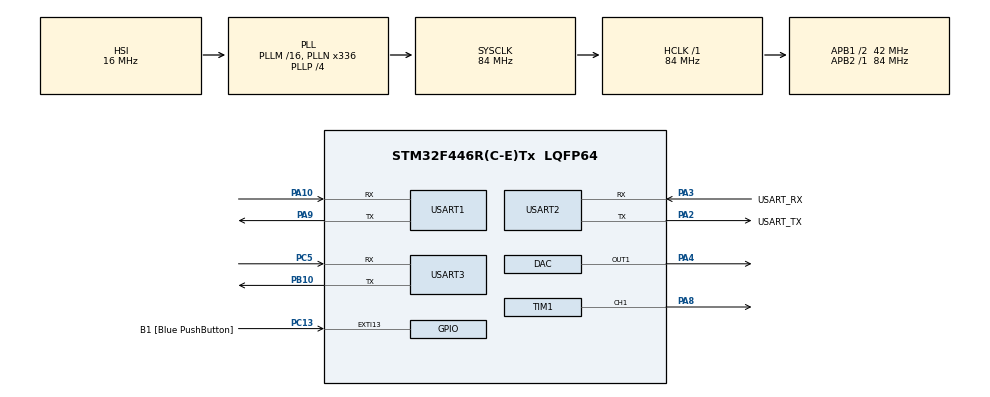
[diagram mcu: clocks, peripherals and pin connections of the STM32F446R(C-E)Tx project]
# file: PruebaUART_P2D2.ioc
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DAC.DAC_Trigger=DAC_TRIGGER_T6_TRGO
Dma.DAC1.0.Direction=DMA_MEMORY_TO_PERIPH
Dma.DAC1.0.FIFOMode=DMA_FIFOMODE_DISABLE
Dma.DAC1.0.Instance=DMA1_Stream5
Dma.DAC1.0.MemDataAlignment=DMA_MDATAALIGN_WORD
Dma.DAC1.0.MemInc=DMA_MINC_ENABLE
Dma.DAC1.0.Mode=DMA_CIRCULAR
Dma.DAC1.0.PeriphDataAlignment=DMA_PDATAALIGN_WORD
Dma.DAC1.0.PeriphInc=DMA_PINC_DISABLE
Dma.DAC1.0.Priority=DMA_PRIORITY_HIGH
Dma.Request0=DAC1
Dma.Request1=TIM1_CH1
Dma.TIM1_CH1.1.Direction=DMA_MEMORY_TO_PERIPH
Dma.TIM1_CH1.1.FIFOMode=DMA_FIFOMODE_DISABLE
Dma.TIM1_CH1.1.Instance=DMA2_Stream1
Dma.TIM1_CH1.1.MemDataAlignment=DMA_MDATAALIGN_HALFWORD
Dma.TIM1_CH1.1.MemInc=DMA_MINC_ENABLE
Dma.TIM1_CH1.1.Mode=DMA_NORMAL
Dma.TIM1_CH1.1.PeriphDataAlignment=DMA_PDATAALIGN_HALFWORD
Dma.TIM1_CH1.1.PeriphInc=DMA_PINC_DISABLE
Dma.TIM1_CH1.1.Priority=DMA_PRIORITY_HIGH
Mcu.Family=STM32F4
Mcu.Name=STM32F446R(C-E)Tx
Mcu.Package=LQFP64
NVIC.DMA1_Stream5_IRQn=true\:0\:0\:false\:false\:true\:false\:true\:true
NVIC.DMA2_Stream1_IRQn=true\:0\:0\:false\:false\:true\:false\:true\:true
NVIC.PriorityGroup=NVIC_PRIORITYGROUP_0
NVIC.USART1_IRQn=true\:0\:0\:false\:false\:true\:true\:true\:true
NVIC.USART3_IRQn=true\:0\:0\:false\:false\:true\:true\:true\:true
PA10.Mode=Asynchronous
PA10.Signal=USART1_RX
PA13.GPIO_Label=TMS
PA13.Signal=SYS_JTMS-SWDIO
PA14.GPIO_Label=TCK
PA14.Signal=SYS_JTCK-SWCLK
PA2.GPIO_Label=USART_TX
PA2.Mode=Asynchronous
PA2.Signal=USART2_TX
PA3.GPIO_Label=USART_RX
PA3.Mode=Asynchronous
PA3.Signal=USART2_RX
PA4.Signal=COMP_DAC1_group
PA8.Signal=S_TIM1_CH1
PA9.Mode=Asynchronous
PA9.Signal=USART1_TX
PB10.Mode=Asynchronous
PB10.Signal=USART3_TX
PB3.GPIO_Label=SWO
PB3.Signal=SYS_JTDO-SWO
PC13.GPIO_Label=B1 [Blue PushButton]
PC13.GPIO_ModeDefaultEXTI=GPIO_MODE_IT_FALLING
PC13.Signal=GPXTI13
PC14-OSC32_IN.Signal=RCC_OSC32_IN
PC15-OSC32_OUT.Signal=RCC_OSC32_OUT
PC5.Mode=Asynchronous
PC5.Signal=USART3_RX
PH0-OSC_IN.Signal=RCC_OSC_IN
PH1-OSC_OUT.Signal=RCC_OSC_OUT
ProjectManager.HeapSize=0x200
ProjectManager.StackSize=0x400
ProjectManager.TargetToolchain=STM32CubeIDE
RCC.AHBFreq_Value=84000000
RCC.APB1CLKDivider=RCC_HCLK_DIV2
RCC.APB1Freq_Value=42000000
RCC.APB1TimFreq_Value=84000000
RCC.APB2Freq_Value=84000000
RCC.APB2TimFreq_Value=84000000
RCC.CortexFreq_Value=84000000
RCC.FLatency-AdvancedSettings=FLASH_LATENCY_2
RCC.HCLKFreq_Value=84000000
RCC.HSE_VALUE=8000000
RCC.HSI_VALUE=16000000
RCC.LSE_VALUE=32768
RCC.PLLN=336
RCC.PLLP=RCC_PLLP_DIV4
RCC.SYSCLKFreq_VALUE=84000000
RCC.SYSCLKSource=RCC_SYSCLKSOURCE_PLLCLK
RCC.USBFreq_Value=168000000
RCC.VCOOutputFreq_Value=336000000
SH.COMP_DAC1_group.0=DAC_OUT1,DAC_OUT1
SH.S_TIM1_CH1.0=TIM1_CH1,PWM Generation1 CH1
TIM1.Channel-PWM\ Generation1\ CH1=TIM_CHANNEL_1
TIM1.Period=105-1
TIM6.Period=2624
TIM6.TIM_MasterOutputTrigger=TIM_TRGO_UPDATE
USART1.VirtualMode=VM_ASYNC
USART2.VirtualMode=VM_ASYNC
USART3.VirtualMode=VM_ASYNC
VP_TIM1_VS_ClockSourceINT.Mode=Internal
VP_TIM6_VS_ClockSourceINT.Mode=Enable_Timer
board=NUCLEO-F446RE

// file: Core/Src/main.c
/* USER CODE BEGIN Header */
// Proyecto 3 Electronica Digital 2
// Parte 7: indicador sonoro con DAC
// Parte 6: indicador visual con Neopixel
// Parte 2: comunicación UART (esp32, nucleo 2 y computadora)
/**
  ******************************************************************************
  * @file           : main.c
  * @brief          : Main program body
  ******************************************************************************
  * @attention
  *
  * Copyright (c) 2026 STMicroelectronics.
  * All rights reserved.
  *
  * This software is licensed under terms that can be found in the LICENSE file
  * in the root directory of this software component.
  * If no LICENSE file comes with this software, it is provided AS-IS.
  *
  ******************************************************************************
  */
/* USER CODE END Header */
#include "main.h"

/* USER CODE BEGIN Includes */
#include <string.h>
#include <stdio.h>
#include <math.h>
#include "Neopixel.h"
/* USER CODE END Includes */

/* USER CODE BEGIN PTD */
typedef enum {encendido, recibiendo, enviando, guardando} EstadoSistema;
typedef enum{OPERACION_NINGUNA, OPERACION_LEER, OPERACION_GUARDAR} OperacionN2;

/* USER CODE END PTD */

/* USER CODE BEGIN PD */
#define AUDIO1             32U
#define TIM6_CLK_HZ        84000000UL
#define TIM6_PSC           0U

// efectos de sonido
#define SONIDO_StartMedicion    0U
#define SONIDO_SaveMedicion     1U
#define SONIDO_AlertaLimite 	2U

#define ESP_BUFFER_SIZE 64U
#define N2_BUFFER_SIZE       256U
#define N2_LINEA_SIZE        96U

#define N2_TIMEOUT_MS        15000U
#define INDICACION_TX_MS     300U

// 3000 centesimas de grado = 30 grados
#define LIMITE_ANGULO_CDEG   3000

/* USER CODE END PD */

DAC_HandleTypeDef hdac;
DMA_HandleTypeDef hdma_dac1;

TIM_HandleTypeDef htim1;
TIM_HandleTypeDef htim6;
DMA_HandleTypeDef hdma_tim1_ch1;

UART_HandleTypeDef huart1;
UART_HandleTypeDef huart2;
UART_HandleTypeDef huart3;

/* USER CODE BEGIN PV */

static uint32_t ondaDAC[AUDIO1];
EstadoSistema estado = encendido;

// frecuencias y duraciones de efectos de sonido
static const uint16_t StartMedicion[] = {
		  262, 0,
		  294, 0,
		  262, 0,
	      311, 0,
	      392, 0,
	      466, 0,
	      440
};
static const uint16_t StartMedicionDuraciones[] = {
		    360, 40,
		    200, 50,
		    360, 40,
		    180, 30,
		    170, 20,
		    170, 30,
		    560
};
static const uint16_t SaveMedicion[] = {
		  659, 0,
		  554, 0,
		  554, 0,
		  494, 0,
		  554, 0,
		  659
};
static const uint16_t SaveMedicionDuraciones[] = {
		  100, 20,
		   90, 40,
		  380, 10,
	       90, 10,
	      120, 10,
	      180
};
static const uint16_t AlertaLimite[] = {1200, 0, 1200, 0, 1200};
static const uint16_t AlertaLimiteDuraciones[] = {100, 100, 100, 100, 250};

//variables de estado del indicador sonoro
static const uint16_t *melodiaActual = 0;
static const uint16_t *duracionesActuales = 0;
static uint16_t cantidadNotas = 0;
static uint16_t notaActual = 0;
static uint8_t dacActivo = 0;
static uint32_t inicioNota = 0;

float brilloled;

//esp32
static uint8_t datoESP;

static volatile uint8_t bufferESP[ESP_BUFFER_SIZE];
static volatile uint8_t entradaESP = 0;
static volatile uint8_t salidaESP = 0;

static uint8_t datoN2;
static volatile uint8_t bufferN2[N2_BUFFER_SIZE];
static volatile uint16_t entradaN2 = 0;
static volatile uint16_t salidaN2 = 0;
static volatile uint8_t desbordeN2 = 0;
static OperacionN2 operacionN2 = OPERACION_NINGUNA;
static unsigned int solicitudN2 = 0;
static uint32_t inicioOperacionN2 = 0;
static uint32_t inicioIndicacionTX = 0;
static uint8_t inicioMedicionConfirmado = 0;

static uint8_t alertaPendiente = 0;

/* USER CODE END PV */

void SystemClock_Config(void);
static void MX_GPIO_Init(void);
static void MX_DMA_Init(void);
static void MX_USART1_UART_Init(void);
static void MX_USART2_UART_Init(void);
static void MX_DAC_Init(void);
static void MX_TIM6_Init(void);
static void MX_TIM1_Init(void);
static void MX_USART3_UART_Init(void);
/* USER CODE BEGIN PFP */

static void generarOnda(void);
static uint32_t calcularARR(uint16_t frecuencia);
static void Audio_Tono(uint16_t frecuencia);
static void playTone(const uint16_t *notas, const uint16_t *duraciones, uint16_t cantidad);
void Audio_Reproducir(uint8_t efecto);
void Audio_Actualizar(void);
void Neopixel_Actualizar(void);

static void ESP_Responder(const char *mensaje);
static void ESP_EjecutarComando(const char *comando);
static void ESP_Procesar(void);

static void Sistema_Finalizar(const char *mensaje);
static void N2_Interpretar(const char *linea);
static void N2_Procesar(void);
static void Sistema_Actualizar(void);

/* USER CODE END PFP */

/* USER CODE BEGIN 0 */

// Funciones de comunicación NUCLEO 1 con ESP32 ////////////////////////////////////////////
static void ESP_Responder(const char *mensaje)
{
    uint16_t longitud = (uint16_t)strlen(mensaje);
    HAL_UART_Transmit(&huart3, (uint8_t *)mensaje, longitud, 100);
    HAL_UART_Transmit(&huart2, (uint8_t *)mensaje, longitud, 100);
}

static void ESP_EjecutarComando(const char *comando)
{
    OperacionN2 nuevaOperacion;

    if (strcmp(comando, "leer") == 0){
        nuevaOperacion = OPERACION_LEER;
    }
    else if (strcmp(comando, "guardar") == 0){
        nuevaOperacion = OPERACION_GUARDAR;
    }
    else{
        ESP_Responder("ERROR: use leer o guardar\r\n");
        return;
    }

    if (operacionN2 != OPERACION_NINGUNA)
    {
        ESP_Responder("OCUPADO: espere la respuesta\r\n");
        return;
    }

    // Identificador entre 1 y 65535
    solicitudN2 = (solicitudN2 % 65535U) + 1U;

    operacionN2 = nuevaOperacion;
    inicioMedicionConfirmado = 0;

    estado = (nuevaOperacion == OPERACION_LEER)
           ? recibiendo
           : guardando;

    char mensaje[32];

    snprintf(mensaje, sizeof(mensaje), "%s;%u\n", comando, solicitudN2);

    inicioOperacionN2 = HAL_GetTick();

    if (HAL_UART_Transmit(&huart1, (uint8_t *)mensaje, (uint16_t)strlen(mensaje), 100) != HAL_OK)
    {
        Sistema_Finalizar("ERROR: no se pudo enviar a Nucleo 2\r\n");
    }
}

// Formar comandos con los caracteres recibidos por UART
static void ESP_Procesar(void)
{
    static char comando[32];
    static uint8_t posicion = 0;
    static uint8_t descartar = 0;

    while (salidaESP != entradaESP)
    {
        char caracter = (char)bufferESP[salidaESP];

        salidaESP = (uint8_t)((salidaESP + 1U) % ESP_BUFFER_SIZE);

        //aceptar finales de linea \n o \r\n
        if (caracter == '\r'){
            continue;
        }

        if (caracter == '\n'){
            if (descartar){
                ESP_Responder("ERROR: comando demasiado largo\r\n");
            }
            else if (posicion > 0U){
                comando[posicion] = '\0';
                ESP_EjecutarComando(comando);
            }

            posicion = 0;
            descartar = 0;
        }
        else if (!descartar){
            if (posicion < sizeof(comando) - 1U){
                comando[posicion++] = caracter;
            }
            else{
                //ignorar el resto de esta linea
                descartar = 1;
            }
        }
    }
}

/* USER CODE END 0 */

int main(void)
{

  /* MCU Configuration--------------------------------------------------------*/

  /* Reset of all peripherals, Initializes the Flash interface and the Systick. */
  HAL_Init();

  /* Configure the system clock */
  SystemClock_Config();

  /* Initialize all configured peripherals */
  MX_GPIO_Init();
  MX_DMA_Init();
  MX_USART1_UART_Init();
  MX_USART2_UART_Init();
  MX_DAC_Init();
  MX_TIM6_Init();
  MX_TIM1_Init();
  MX_USART3_UART_Init();
  /* USER CODE BEGIN 2 */

  generarOnda();
  setBrightness(70);
  estado = encendido;

  // Activar una sola vez la recepcion desde ESP32
  if (HAL_UART_Receive_IT(&huart3, &datoESP, 1) != HAL_OK)
  {
      Error_Handler();
  }

  // Habilitar interrupcion del enlace con Nucleo 2
  HAL_NVIC_SetPriority(USART1_IRQn, 0, 0);
  HAL_NVIC_EnableIRQ(USART1_IRQn);

  // Activar una sola vez la recepcion desde Nucleo 2
  if (HAL_UART_Receive_IT(&huart1, &datoN2, 1) != HAL_OK)
  {
      Error_Handler();
  }

  // Avisar al telefono y a la computadora
  ESP_Responder("NUCLEO1 LISTA\r\n");
  Audio_Reproducir(SONIDO_StartMedicion);

  /* USER CODE END 2 */

  /* Infinite loop */
  /* USER CODE BEGIN WHILE */

 while (1)
 {

	 Audio_Actualizar();

     if (alertaPendiente && melodiaActual == 0)
     {
         alertaPendiente = 0;
         Audio_Reproducir(SONIDO_AlertaLimite);
     }

     N2_Procesar();
     Sistema_Actualizar();
     ESP_Procesar();
     Neopixel_Actualizar();

     }

    /* USER CODE END WHILE */

 }

void SystemClock_Config(void)
{
  RCC_OscInitTypeDef RCC_OscInitStruct = {0};
  RCC_ClkInitTypeDef RCC_ClkInitStruct = {0};

  /** Configure the main internal regulator output voltage
  */
  __HAL_RCC_PWR_CLK_ENABLE();
  __HAL_PWR_VOLTAGESCALING_CONFIG(PWR_REGULATOR_VOLTAGE_SCALE3);

  /** Initializes the RCC Oscillators according to the specified parameters
  * in the RCC_OscInitTypeDef structure.
  */
  RCC_OscInitStruct.OscillatorType = RCC_OSCILLATORTYPE_HSI;
  RCC_OscInitStruct.HSIState = RCC_HSI_ON;
  RCC_OscInitStruct.HSICalibrationValue = RCC_HSICALIBRATION_DEFAULT;
  RCC_OscInitStruct.PLL.PLLState = RCC_PLL_ON;
  RCC_OscInitStruct.PLL.PLLSource = RCC_PLLSOURCE_HSI;
  RCC_OscInitStruct.PLL.PLLM = 16;
  RCC_OscInitStruct.PLL.PLLN = 336;
  RCC_OscInitStruct.PLL.PLLP = RCC_PLLP_DIV4;
  RCC_OscInitStruct.PLL.PLLQ = 2;
  RCC_OscInitStruct.PLL.PLLR = 2;
  if (HAL_RCC_OscConfig(&RCC_OscInitStruct) != HAL_OK)
  {
    Error_Handler();
  }

  /** Initializes the CPU, AHB and APB buses clocks
  */
  RCC_ClkInitStruct.ClockType = RCC_CLOCKTYPE_HCLK|RCC_CLOCKTYPE_SYSCLK
                              |RCC_CLOCKTYPE_PCLK1|RCC_CLOCKTYPE_PCLK2;
  RCC_ClkInitStruct.SYSCLKSource = RCC_SYSCLKSOURCE_PLLCLK;
  RCC_ClkInitStruct.AHBCLKDivider = RCC_SYSCLK_DIV1;
  RCC_ClkInitStruct.APB1CLKDivider = RCC_HCLK_DIV2;
  RCC_ClkInitStruct.APB2CLKDivider = RCC_HCLK_DIV1;

  if (HAL_RCC_ClockConfig(&RCC_ClkInitStruct, FLASH_LATENCY_2) != HAL_OK)
  {
    Error_Handler();
  }
}

static void MX_DAC_Init(void)
{

  DAC_ChannelConfTypeDef sConfig = {0};

  /** DAC Initialization
  */
  hdac.Instance = DAC;
  if (HAL_DAC_Init(&hdac) != HAL_OK)
  {
    Error_Handler();
  }

  /** DAC channel OUT1 config
  */
  sConfig.DAC_Trigger = DAC_TRIGGER_T6_TRGO;
  sConfig.DAC_OutputBuffer = DAC_OUTPUTBUFFER_ENABLE;
  if (HAL_DAC_ConfigChannel(&hdac, &sConfig, DAC_CHANNEL_1) != HAL_OK)
  {
    Error_Handler();
  }

}

static void MX_TIM1_Init(void)
{

  TIM_ClockConfigTypeDef sClockSourceConfig = {0};
  TIM_MasterConfigTypeDef sMasterConfig = {0};
  TIM_OC_InitTypeDef sConfigOC = {0};
  TIM_BreakDeadTimeConfigTypeDef sBreakDeadTimeConfig = {0};

  htim1.Instance = TIM1;
  htim1.Init.Prescaler = 0;
  htim1.Init.CounterMode = TIM_COUNTERMODE_UP;
  htim1.Init.Period = 105-1;
  htim1.Init.ClockDivision = TIM_CLOCKDIVISION_DIV1;
  htim1.Init.RepetitionCounter = 0;
  htim1.Init.AutoReloadPreload = TIM_AUTORELOAD_PRELOAD_DISABLE;
  if (HAL_TIM_Base_Init(&htim1) != HAL_OK)
  {
    Error_Handler();
  }
  sClockSourceConfig.ClockSource = TIM_CLOCKSOURCE_INTERNAL;
  if (HAL_TIM_ConfigClockSource(&htim1, &sClockSourceConfig) != HAL_OK)
  {
    Error_Handler();
  }
  if (HAL_TIM_PWM_Init(&htim1) != HAL_OK)
  {
    Error_Handler();
  }
  sMasterConfig.MasterOutputTrigger = TIM_TRGO_RESET;
  sMasterConfig.MasterSlaveMode = TIM_MASTERSLAVEMODE_DISABLE;
  if (HAL_TIMEx_MasterConfigSynchronization(&htim1, &sMasterConfig) != HAL_OK)
  {
    Error_Handler();
  }
  sConfigOC.OCMode = TIM_OCMODE_PWM1;
  sConfigOC.Pulse = 0;
  sConfigOC.OCPolarity = TIM_OCPOLARITY_HIGH;
  sConfigOC.OCNPolarity = TIM_OCNPOLARITY_HIGH;
  sConfigOC.OCFastMode = TIM_OCFAST_DISABLE;
  sConfigOC.OCIdleState = TIM_OCIDLESTATE_RESET;
  sConfigOC.OCNIdleState = TIM_OCNIDLESTATE_RESET;
  if (HAL_TIM_PWM_ConfigChannel(&htim1, &sConfigOC, TIM_CHANNEL_1) != HAL_OK)
  {
    Error_Handler();
  }
  sBreakDeadTimeConfig.OffStateRunMode = TIM_OSSR_DISABLE;
  sBreakDeadTimeConfig.OffStateIDLEMode = TIM_OSSI_DISABLE;
  sBreakDeadTimeConfig.LockLevel = TIM_LOCKLEVEL_OFF;
  sBreakDeadTimeConfig.DeadTime = 0;
  sBreakDeadTimeConfig.BreakState = TIM_BREAK_DISABLE;
  sBreakDeadTimeConfig.BreakPolarity = TIM_BREAKPOLARITY_HIGH;
  sBreakDeadTimeConfig.AutomaticOutput = TIM_AUTOMATICOUTPUT_DISABLE;
  if (HAL_TIMEx_ConfigBreakDeadTime(&htim1, &sBreakDeadTimeConfig) != HAL_OK)
  {
    Error_Handler();
  }
  HAL_TIM_MspPostInit(&htim1);

}

static void MX_TIM6_Init(void)
{

  TIM_MasterConfigTypeDef sMasterConfig = {0};

  htim6.Instance = TIM6;
  htim6.Init.Prescaler = 0;
  htim6.Init.CounterMode = TIM_COUNTERMODE_UP;
  htim6.Init.Period = 2624;
  htim6.Init.AutoReloadPreload = TIM_AUTORELOAD_PRELOAD_DISABLE;
  if (HAL_TIM_Base_Init(&htim6) != HAL_OK)
  {
    Error_Handler();
  }
  sMasterConfig.MasterOutputTrigger = TIM_TRGO_UPDATE;
  sMasterConfig.MasterSlaveMode = TIM_MASTERSLAVEMODE_DISABLE;
  if (HAL_TIMEx_MasterConfigSynchronization(&htim6, &sMasterConfig) != HAL_OK)
  {
    Error_Handler();
  }

}

static void MX_USART1_UART_Init(void)
{

  huart1.Instance = USART1;
  huart1.Init.BaudRate = 115200;
  huart1.Init.WordLength = UART_WORDLENGTH_8B;
  huart1.Init.StopBits = UART_STOPBITS_1;
  huart1.Init.Parity = UART_PARITY_NONE;
  huart1.Init.Mode = UART_MODE_TX_RX;
  huart1.Init.HwFlowCtl = UART_HWCONTROL_NONE;
  huart1.Init.OverSampling = UART_OVERSAMPLING_16;
  if (HAL_UART_Init(&huart1) != HAL_OK)
  {
    Error_Handler();
  }

}

static void MX_USART2_UART_Init(void)
{

  huart2.Instance = USART2;
  huart2.Init.BaudRate = 115200;
  huart2.Init.WordLength = UART_WORDLENGTH_8B;
  huart2.Init.StopBits = UART_STOPBITS_1;
  huart2.Init.Parity = UART_PARITY_NONE;
  huart2.Init.Mode = UART_MODE_TX_RX;
  huart2.Init.HwFlowCtl = UART_HWCONTROL_NONE;
  huart2.Init.OverSampling = UART_OVERSAMPLING_16;
  if (HAL_UART_Init(&huart2) != HAL_OK)
  {
    Error_Handler();
  }

}

static void MX_USART3_UART_Init(void)
{

  huart3.Instance = USART3;
  huart3.Init.BaudRate = 115200;
  huart3.Init.WordLength = UART_WORDLENGTH_8B;
  huart3.Init.StopBits = UART_STOPBITS_1;
  huart3.Init.Parity = UART_PARITY_NONE;
  huart3.Init.Mode = UART_MODE_TX_RX;
  huart3.Init.HwFlowCtl = UART_HWCONTROL_NONE;
  huart3.Init.OverSampling = UART_OVERSAMPLING_16;
  if (HAL_UART_Init(&huart3) != HAL_OK)
  {
    Error_Handler();
  }

}

static void MX_DMA_Init(void)
{

  /* DMA controller clock enable */
  __HAL_RCC_DMA1_CLK_ENABLE();
  __HAL_RCC_DMA2_CLK_ENABLE();

  /* DMA interrupt init */
  /* DMA1_Stream5_IRQn interrupt configuration */
  HAL_NVIC_SetPriority(DMA1_Stream5_IRQn, 0, 0);
  HAL_NVIC_EnableIRQ(DMA1_Stream5_IRQn);
  /* DMA2_Stream1_IRQn interrupt configuration */
  HAL_NVIC_SetPriority(DMA2_Stream1_IRQn, 0, 0);
  HAL_NVIC_EnableIRQ(DMA2_Stream1_IRQn);

}

static void MX_GPIO_Init(void)
{
  GPIO_InitTypeDef GPIO_InitStruct = {0};

  /* GPIO Ports Clock Enable */
  __HAL_RCC_GPIOC_CLK_ENABLE();
  __HAL_RCC_GPIOH_CLK_ENABLE();
  __HAL_RCC_GPIOA_CLK_ENABLE();
  __HAL_RCC_GPIOB_CLK_ENABLE();

  /*Configure GPIO pin : B1_Pin */
  GPIO_InitStruct.Pin = B1_Pin;
  GPIO_InitStruct.Mode = GPIO_MODE_IT_FALLING;
  GPIO_InitStruct.Pull = GPIO_NOPULL;
  HAL_GPIO_Init(B1_GPIO_Port, &GPIO_InitStruct);

}

/* USER CODE BEGIN 4 */

// Funciones de Buzzer DAC ////////////////////////////////////////
//llena el arreglo con un ciclo de onda cuadrada
static void generarOnda(void){
    for (uint32_t x = 0; x < AUDIO1; x++){
        if (x < (AUDIO1 / 2U)){
            ondaDAC[x] = 0U;
        }
        else{
            ondaDAC[x] = 4095U;
        }
    }
}

// Calcula el valor de ARR para la frecuencia solicitada
static uint32_t calcularARR(uint16_t frecuencia){

    if (frecuencia == 0U){  //silencio antes de iniciar el timer
        return 0U;
    }

    // fs = muestras por ciclo × frecuencia del sonido */
    uint32_t frecuenciaMuestreo = AUDIO1 * (uint32_t)frecuencia;

    // CLK después del prescaler
    uint32_t relojContador = TIM6_CLK_HZ / (TIM6_PSC + 1U);

    // Cantidad de cuentas por actualización
    uint32_t cuentas = relojContador / frecuenciaMuestreo;

    // TIM6 CLK de 16 bits
    if ((cuentas < 1U) || (cuentas > 65536U)){
        Error_Handler();
        return 0U;
    }

    return cuentas - 1U;
}

// Reproducir una frecuencia o detener el sonido
static void Audio_Tono(uint16_t frecuencia){
    HAL_TIM_Base_Stop(&htim6);

    if (dacActivo){
        HAL_DAC_Stop_DMA(&hdac, DAC_CHANNEL_1);
        dacActivo = 0;
    }

    if (frecuencia == 0U){  // Frecuencia cero para silencio
        return;
    }

    uint32_t arr = calcularARR(frecuencia);

    __HAL_TIM_SET_AUTORELOAD(&htim6, arr);
    __HAL_TIM_SET_COUNTER(&htim6, 0U);
    __HAL_TIM_CLEAR_FLAG(&htim6, TIM_FLAG_UPDATE);

    HAL_DAC_SetValue(&hdac, DAC_CHANNEL_1, DAC_ALIGN_12B_R, 0U);

    // Preparar el DAC y el DMA
    if (HAL_DAC_Start_DMA(&hdac, DAC_CHANNEL_1, ondaDAC, AUDIO1, DAC_ALIGN_12B_R) != HAL_OK){
        Error_Handler();
    }

    dacActivo = 1;

    if (HAL_TIM_Base_Start(&htim6) != HAL_OK){
        Error_Handler();
    }
}

// Iniciar secuencia de notas
static void playTone(const uint16_t *notas, const uint16_t *duraciones, uint16_t cantidad){
    if ((notas == 0) || (duraciones == 0) || (cantidad == 0U)){
        return;
    }

    melodiaActual = notas;
    duracionesActuales = duraciones;

    cantidadNotas = cantidad;
    notaActual = 0;

    Audio_Tono(melodiaActual[notaActual]);
    inicioNota = HAL_GetTick();
}

// Seleccionar el efecto de sonido
void Audio_Reproducir(uint8_t efecto)
{
    switch (efecto){
        case SONIDO_StartMedicion:
            playTone(StartMedicion, StartMedicionDuraciones, sizeof(StartMedicion) / sizeof(StartMedicion[0]));
            break;

        case SONIDO_SaveMedicion:
            playTone(SaveMedicion, SaveMedicionDuraciones, sizeof(SaveMedicion) / sizeof(SaveMedicion[0]));
            break;

        case SONIDO_AlertaLimite:
            playTone(AlertaLimite, AlertaLimiteDuraciones, sizeof(AlertaLimite) / sizeof(AlertaLimite[0]));
            break;
        default:
            return;
    }
}

// Avanzar de nota sin delay
void Audio_Actualizar(void)
{
    if (melodiaActual == 0){
        return;
    }

    if ((uint32_t)(HAL_GetTick() - inicioNota) < duracionesActuales[notaActual]){
        return;
    }

    notaActual++;

    if (notaActual >= cantidadNotas){ // termina la secuencia
        Audio_Tono(0);
        melodiaActual = 0;
        duracionesActuales = 0;
        return;
    }

    Audio_Tono(melodiaActual[notaActual]); // inicia la siguiente nota
    inicioNota = HAL_GetTick();
}

// Funcion de Neopixel ////////////////////////////////////////////////////////////////////////
void Neopixel_Actualizar(void)
{
    static uint32_t ultimaActualizacion = 0;
    uint32_t ahora = HAL_GetTick();

    // actualizo cada 20 ms
    if ((uint32_t)(ahora - ultimaActualizacion) < 20U){
        return;
    }

    ultimaActualizacion = ahora;
    uint32_t tiempo = ahora % 2000U;
    uint8_t nivel;

    if (tiempo < 1000U){
        nivel = (uint8_t)((tiempo * 255U) / 1000U);
    }
    else{
        nivel = (uint8_t)(((2000U - tiempo) * 255U) / 1000U);
    }

    uint8_t r = 0;
    uint8_t g = 0;
    uint8_t b = 0;

    switch (estado)
    {
        case encendido: //encendido o en espera
            //blanco con parpadeo de 1 segundo
            if (((ahora / 1000U) % 2U) == 0U)
            {
                r = 255;
                g = 255;
                b = 255;
            }
            break;

        case recibiendo: //nucleo 2 recibe un comando (cualquiera)
            // transición de morado a azul
            r = (uint8_t)((128U * (255U - nivel)) / 255U);
            g = 0;
            b = 255;
            break;

        case enviando: //nucleo 2 envia los datos
            // transición de naranja a amarillo
            r = 255;
            g = (uint8_t)(80U + (175U * nivel) / 255U);
            b = 0;
            break;

        case guardando: //se guardan mediciones en SD
            // verde que aumenta y disminuye intensidad
            r = 0;
            g = nivel;
            b = 0;
            break;

        default:
            return;
    }
    setPixelColor(0, r, g, b);
    pixelShow();
}

void HAL_UART_RxCpltCallback(UART_HandleTypeDef *huart)
{
    if (huart->Instance == USART3){
        uint8_t siguiente = (uint8_t)((entradaESP + 1U) % ESP_BUFFER_SIZE);

        if (siguiente != salidaESP){
            bufferESP[entradaESP] = datoESP;
            entradaESP = siguiente;
        }

        HAL_UART_Receive_IT(&huart3, &datoESP, 1);
    }
    else if (huart->Instance == USART1){

    	uint16_t siguiente = (uint16_t)((entradaN2 + 1U) % N2_BUFFER_SIZE);

        if (siguiente != salidaN2){
            bufferN2[entradaN2] = datoN2;
            entradaN2 = siguiente;
        }
        else{
            desbordeN2 = 1;
        }

        HAL_UART_Receive_IT(&huart1, &datoN2, 1);
    }
}

// funciones de comunicacion con nucleo 2 ///////////////////////////////////////////////////////////////////////

// Publicar el resultado y terminar la operacion
static void Sistema_Finalizar(const char *mensaje)
{
    operacionN2 = OPERACION_NINGUNA;
    estado = enviando;
    inicioIndicacionTX = HAL_GetTick();

    ESP_Responder(mensaje);
}

static void N2_Procesar(void)
{
    static char linea[N2_LINEA_SIZE];
    static uint16_t posicion = 0;
    static uint8_t descartar = 0;

    while (salidaN2 != entradaN2){
        if (desbordeN2){
            desbordeN2 = 0;
            posicion = 0;
            descartar = 1;

            if (operacionN2 != OPERACION_NINGUNA){
                Sistema_Finalizar("ERROR: desborde de recepcion Nucleo 2\r\n");
            }
        }

        char caracter = (char)bufferN2[salidaN2];

        salidaN2 = (uint16_t)((salidaN2 + 1U) % N2_BUFFER_SIZE);

        if (caracter == '\r'){
            continue;
        }

        if (caracter == '\n'){
            if (!descartar && posicion > 0U){
                linea[posicion] = '\0';
                N2_Interpretar(linea);
            }

            posicion = 0;
            descartar = 0;
        }
        else if (!descartar){
            if (posicion < sizeof(linea) - 1U){
                linea[posicion++] = caracter;
            }
            else{
                posicion = 0;
                descartar = 1;

                if (operacionN2 != OPERACION_NINGUNA){
                    Sistema_Finalizar("ERROR: respuesta demasiado larga\r\n");
                }
            }
        }
    }
}

static void N2_Interpretar(const char *linea)
{
    unsigned int id;
    int roll;
    int pitch;
    char extra;
    char detalle[64];

     //Procesar errores primero
     // ID 0 significa que Nucleo 2 no pudo identificar la solicitud porque recibio una trama invalida

    if (sscanf(linea,"ERROR;%u;%63[^\r\n]",&id,detalle) == 2){
        if (id == 0U || (operacionN2 != OPERACION_NINGUNA && id == solicitudN2)){
            char respuesta[128];
            snprintf(respuesta,sizeof(respuesta),"ERROR Nucleo 2: %s\r\n",detalle);

            if (operacionN2 != OPERACION_NINGUNA){
                Sistema_Finalizar(respuesta); // muestra error y liberar la operacion pendiente
            }
            else{
                ESP_Responder(respuesta); // muestra errores de enlace aunque estemos en espera
            }
        }
        return;
    }

    // Las demas respuestas requieren una operacion pendiente.
    if (operacionN2 == OPERACION_NINGUNA){
        return;
    }

     //Nucleo 2 confirma el inicio de la lectura
    if (sscanf(linea, "INICIO;%u%c", &id, &extra) == 1){
        if (id == solicitudN2 && operacionN2 == OPERACION_LEER && !inicioMedicionConfirmado){
            inicioMedicionConfirmado = 1;
            inicioOperacionN2 = HAL_GetTick();
            estado = recibiendo;
        }
        return;
    }

     //Recibir roll y pitch en centesimas de grado
    if (sscanf(linea,"DATOS;%u;%d;%d%c",&id,&roll,&pitch,&extra) == 3){
        if (id != solicitudN2 || operacionN2 != OPERACION_LEER){
            return;
        }

        // Validar los rangos posibles de inclinacion.
        if (roll < -18000 || roll > 18000 || pitch < -9000 || pitch > 9000){
            Sistema_Finalizar("ERROR: angulos recibidos fuera de rango\r\n");
            return;
        }

        int absRoll = roll < 0 ? -roll : roll;
        int absPitch = pitch < 0 ? -pitch : pitch;

        char respuesta[128];

        // Formatear sin necesitar printf con flotantes.
        snprintf(respuesta,sizeof(respuesta),"Roll: %s%d.%02d grados | Pitch: %s%d.%02d grados\r\n",
            roll < 0 ? "-" : "",
            absRoll / 100,
            absRoll % 100,
            pitch < 0 ? "-" : "",
            absPitch / 100,
            absPitch % 100
        );

        uint8_t alerta =
            roll > LIMITE_ANGULO_CDEG ||
            roll < -LIMITE_ANGULO_CDEG ||
            pitch > LIMITE_ANGULO_CDEG ||
            pitch < -LIMITE_ANGULO_CDEG;

        estado = enviando;

        // Enviar los angulos SOLO a la computadora.
        HAL_UART_Transmit(&huart2,(uint8_t *)respuesta,(uint16_t)strlen(respuesta),100);

        // El telefono recibe solamente la confirmacion.
        Sistema_Finalizar("Lectura completada\r\n");

        if (alerta){
            // se reproduce la alarma al terminar el sonido que este en curso.
            alertaPendiente = 1;

            ESP_Responder(
                "ALERTA: inclinacion mayor de 30 grados\r\n"
            );
        }
        return;
    }

     //Nucleo 2 confirma que comenzo la escritura SD
    if (sscanf(linea,"GUARDANDO;%u%c",&id,&extra) == 1){
        if (id == solicitudN2 && operacionN2 == OPERACION_GUARDAR){
            estado = guardando;
            inicioOperacionN2 = HAL_GetTick();
        }
        return;
    }

     // Nucleo 2 confirma que termino el guardado
    if (sscanf(linea,"GUARDADO;%u%c",&id,&extra) == 1){
        if (id == solicitudN2 && operacionN2 == OPERACION_GUARDAR){
            Audio_Reproducir(SONIDO_SaveMedicion);
            Sistema_Finalizar("Medicion guardada en SD\r\n");
        }
        return;
    }
}

// Controlar tiempos sin delay
static void Sistema_Actualizar(void){
    uint32_t ahora = HAL_GetTick();

    if (operacionN2 != OPERACION_NINGUNA){
        if ((uint32_t)(ahora - inicioOperacionN2) >= N2_TIMEOUT_MS){
            Sistema_Finalizar("ERROR: Nucleo 2 no respondio a tiempo\r\n");
        }
    }
    else if (estado == enviando){
        if ((uint32_t)(ahora - inicioIndicacionTX) >= INDICACION_TX_MS){
            estado = encendido;
        }
    }
}

/* USER CODE END 4 */

void Error_Handler(void)
{
  __disable_irq();
  while (1)
  {
  }
}
